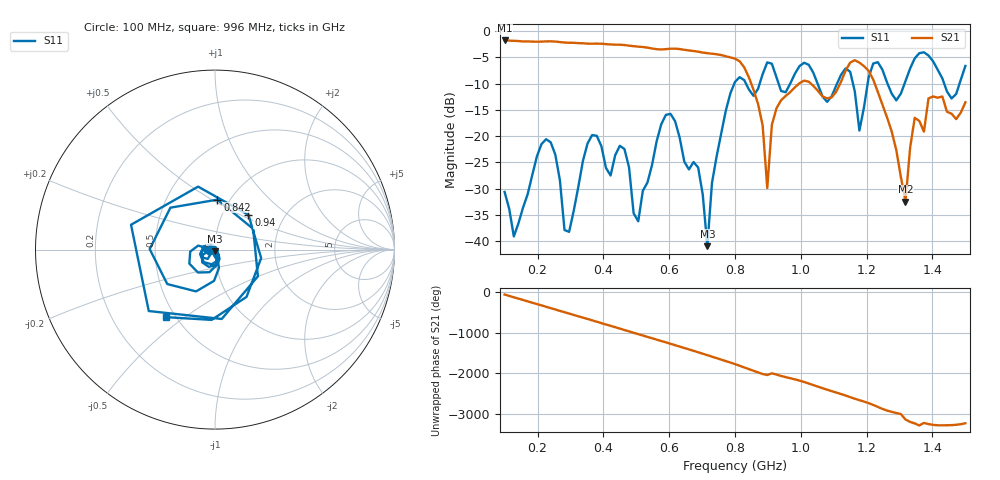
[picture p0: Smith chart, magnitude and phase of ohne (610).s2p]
! NanoVNA-App
! Date: 2025-09-25 14:25:33
! Start: 100MHz Stop: 1,5GHz Points: 101
! S-Parameter data: F S11 S21 S12 S22
# Hz S RI R 50
!  Frequency  S11_Real  S11_Imag  S21_Real  S21_Imag  S12_Real  S12_Imag  S22_Real  S22_Imag
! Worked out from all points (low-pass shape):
!   101 points, 100 MHz to 1.5 GHz, reference 50 ohm
!   highest |S21| = -1.79 dB at 100 MHz (marker M1); lowest = -32.5 dB at 1.318 GHz (marker M2)
!   |S21| within 3 dB of the highest: start of sweep to 771.4 MHz
!   lowest |S11| = -41.0 dB at 716 MHz (marker M3), VSWR 1.02, Z = 49.9 - j0.883 ohm
!   |S11| at or under -10 dB: start of sweep to 798 MHz; 833.2 MHz to 875.1 MHz (41.83 MHz wide, 4.9 % of centre); 1.051 GHz to 1.11 GHz (59.36 MHz wide, 5.49 % of centre) (the widest 3 of 7)
!   S12 and S22 are empty: the file has one direction only
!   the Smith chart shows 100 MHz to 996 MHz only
!   S11 on the Smith chart (normalised r, x): 100 MHz: 0.94, -0.01; 842 MHz: 0.88, +0.53; 940 MHz: 1.33, +0.55; 996 MHz: 0.45, -0.43
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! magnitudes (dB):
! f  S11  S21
! 100 MHz  -30.6  -1.8
! 128 MHz  -39.1  -1.9
! 226 MHz  -20.6  -2.0
! 296 MHz  -38.2  -2.2
! 338 MHz  -24.7  -2.3
! 464 MHz  -22.5  -2.7
! 506 MHz  -36.2  -3.0
! 576 MHz  -17.7  -3.5
! 688 MHz  -26.0  -3.9
! 716 MHz  -41.0  -4.2
! 800 MHz  -9.7  -5.3
! 842 MHz  -11.1  -8.8
! 898 MHz  -6.0  -29.9
! 940 MHz  -11.4  -13.2
! 996 MHz  -6.7  -9.9
! 1.038 GHz  -7.9  -10.4
! 1.178 GHz  -18.9  -6.0
! 1.22 GHz  -6.2  -9.3
! 1.276 GHz  -11.9  -19.1
! 1.318 GHz  -9.5  -32.5
! 1.346 GHz  -5.2  -16.5
! 1.5 GHz  -6.6  -13.6
